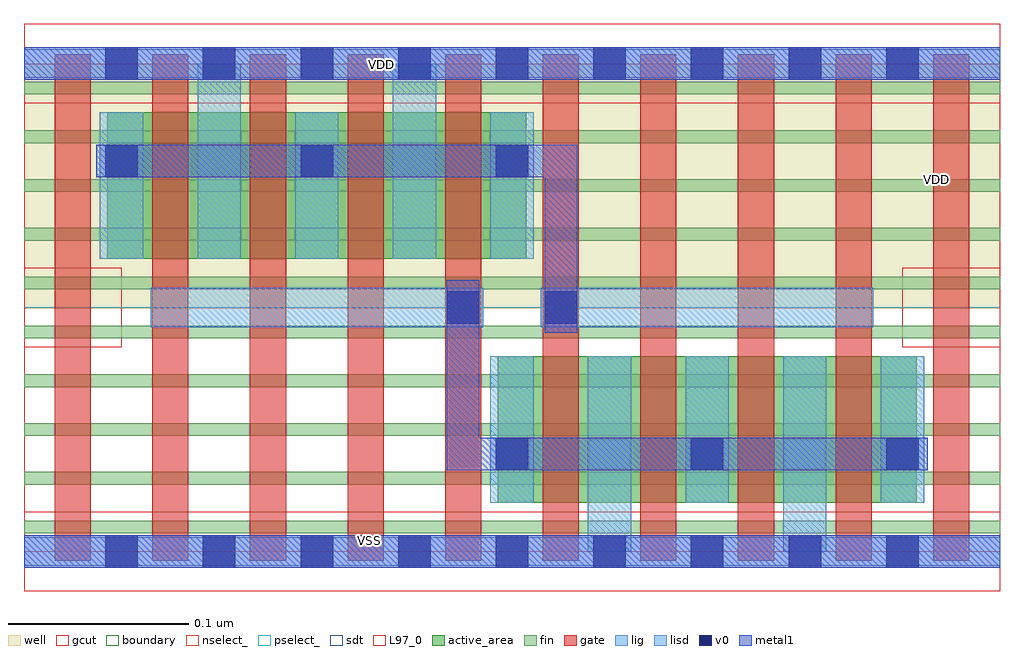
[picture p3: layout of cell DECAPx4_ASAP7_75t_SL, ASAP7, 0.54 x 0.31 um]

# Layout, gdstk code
import gdstk
lib = gdstk.Library(unit=1e-6, precision=2.5e-10)
def R(c, l, rs):  # rectangles x0, y0, x1, y1
    for r in rs: c.add(gdstk.rectangle(r[:2], r[2:], *l))
def A(c, l, x, y, w, h, nx, ny, dx, dy):  # array of equal rectangles
    R(c, l, [(x+i*dx, y+j*dy, x+i*dx+w, y+j*dy+h) for i in range(nx) for j in range(ny)])
def P(c, l, *ps):  # polygons
    for p in ps: c.add(gdstk.Polygon(p, *l))
well = (1, 0)
fin = (2, 0)
gate = (7, 0)
gcut = (10, 0)
active_area = (11, 0)
nselect_ = (12, 0)
pselect_ = (13, 0)
lig = (16, 0)
lisd = (17, 0)
v0 = (18, 0)
metal1 = (19, 0)
sdt = (88, 0)
L97_0 = (97, 0)
boundary = (100, 0)

decapx4_asap7_75t_sl = lib.new_cell('DECAPx4_ASAP7_75t_SL')
R(decapx4_asap7_75t_sl, well, [(0,0.135,0.54,0.27)])
A(decapx4_asap7_75t_sl, fin, 0, 0.01, 0.54, 0.007, 1, 10, 0, 0.027)
A(decapx4_asap7_75t_sl, gate, 0.017, -0.005, 0.02, 0.28, 10, 1, 0.054, 0)
R(decapx4_asap7_75t_sl, gcut, [(0,-0.022,0.54,0.022), (0,0.113,0.054,0.157), (0.486,0.113,0.54,0.157), (0,0.248,0.54,0.292)])
R(decapx4_asap7_75t_sl, active_area, [(0.262,0.027,0.494,0.108), (0.046,0.162,0.278,0.243)])
R(decapx4_asap7_75t_sl, nselect_, [(0,0,0.54,0.135)])
R(decapx4_asap7_75t_sl, pselect_, [(0,0.135,0.54,0.27)])
R(decapx4_asap7_75t_sl, lig, [(0,-0.008,0.54,0.008), (0.07,0.124,0.254,0.146), (0.286,0.124,0.47,0.146), (0,0.262,0.54,0.278)])
A(decapx4_asap7_75t_sl, lisd, 0.258, 0.027, 0.024, 0.081, 3, 1, 0.108, 0)
A(decapx4_asap7_75t_sl, lisd, 0.042, 0.162, 0.024, 0.081, 3, 1, 0.108, 0)
R(decapx4_asap7_75t_sl, lisd, [(0.312,0,0.336,0.108), (0.42,0,0.444,0.108), (0.096,0.162,0.12,0.27), (0.204,0.162,0.228,0.27)])
A(decapx4_asap7_75t_sl, v0, 0.045, -0.009, 0.018, 0.018, 9, 2, 0.054, 0.27)
A(decapx4_asap7_75t_sl, v0, 0.261, 0.045, 0.018, 0.018, 3, 1, 0.108, 0)
A(decapx4_asap7_75t_sl, v0, 0.045, 0.207, 0.018, 0.018, 3, 1, 0.108, 0)
R(decapx4_asap7_75t_sl, v0, [(0.234,0.126,0.252,0.144), (0.288,0.126,0.306,0.144)])
R(decapx4_asap7_75t_sl, metal1, [(0,-0.009,0.54,0.009), (0,0.261,0.54,0.279)])
P(decapx4_asap7_75t_sl, metal1, [(0.5,0.063),(0.252,0.063),(0.252,0.15),(0.234,0.15),(0.234,0.045),(0.5,0.045)],
  [(0.306,0.225),(0.04,0.225),(0.04,0.207),(0.288,0.207),(0.288,0.121),(0.306,0.121)])
A(decapx4_asap7_75t_sl, sdt, 0.258, 0.027, 0.024, 0.081, 5, 1, 0.054, 0)
A(decapx4_asap7_75t_sl, sdt, 0.042, 0.162, 0.024, 0.081, 5, 1, 0.054, 0)
R(decapx4_asap7_75t_sl, L97_0, [(0,0,0.54,0.27)])
R(decapx4_asap7_75t_sl, boundary, [(0,0,0.54,0.27)])
decapx4_asap7_75t_sl.add(gdstk.Label('VDD', (0.198,0.2695), layer=19, texttype=251))
decapx4_asap7_75t_sl.add(gdstk.Label('VSS', (0.191,0.006), layer=19, texttype=251))
decapx4_asap7_75t_sl.add(gdstk.Label('VSS', (0.567,0.209), layer=3, texttype=251))
decapx4_asap7_75t_sl.add(gdstk.Label('VDD', (0.505,0.206), layer=1, texttype=251))

lib.write_gds('DECAPx4_ASAP7_75t_SL.gds')
